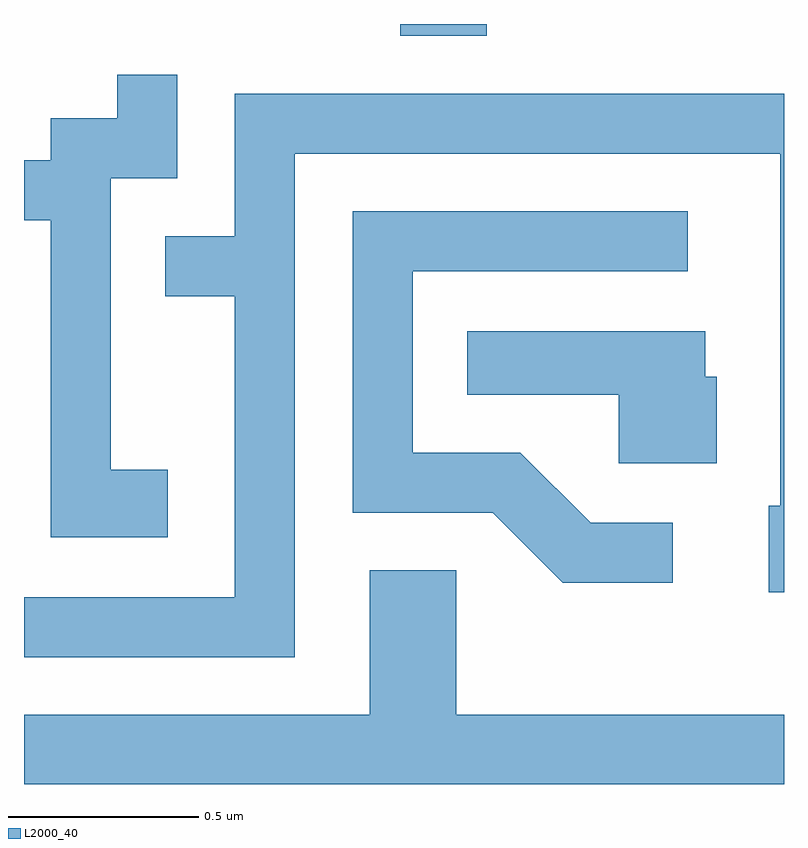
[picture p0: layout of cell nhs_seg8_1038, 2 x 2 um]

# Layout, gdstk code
import gdstk
lib = gdstk.Library(unit=1e-6, precision=1e-09)
def R(c, l, rs):  # rectangles x0, y0, x1, y1
    for r in rs: c.add(gdstk.rectangle(r[:2], r[2:], *l))
def P(c, l, *ps):  # polygons
    for p in ps: c.add(gdstk.Polygon(p, *l))
L2000_40 = (2000, 40)

nhs_seg8_1038 = lib.new_cell('nhs_seg8_1038')
R(nhs_seg8_1038, L2000_40, [(193.601,1887.311,193.829,1887.342)])
P(nhs_seg8_1038, L2000_40, [(192.989,1886.169),(192.839,1886.169),(192.839,1886.936),(193.014,1886.936),(193.014,1887.208),(192.856,1887.208),(192.856,1887.094),(192.681,1887.094),(192.681,1886.984),(192.611,1886.984),(192.611,1886.826),(192.681,1886.826),(192.681,1885.991),(192.989,1885.991)],
  [(193.324,1887.001),(194.601,1887.001),(194.601,1886.074),(194.571,1886.074),(194.571,1885.846),(194.611,1885.846),(194.611,1887.159),(193.166,1887.159),(193.166,1886.784),(192.983,1886.784),(192.983,1886.626),(193.166,1886.626),(193.166,1885.834),(192.611,1885.834),(192.611,1885.676),(193.324,1885.676)],
  [(194.318,1886.029),(194.102,1886.029),(193.917,1886.214),(193.634,1886.214),(193.634,1886.691),(194.358,1886.691),(194.358,1886.849),(193.476,1886.849),(193.476,1886.056),(193.844,1886.056),(194.029,1885.871),(194.318,1885.871)],
  [(194.434,1886.414),(194.404,1886.414),(194.404,1886.534),(193.778,1886.534),(193.778,1886.366),(194.176,1886.366),(194.176,1886.186),(194.434,1886.186)],
  [(194.611,1885.524),(193.749,1885.524),(193.749,1885.904),(193.521,1885.904),(193.521,1885.524),(192.611,1885.524),(192.611,1885.342),(194.611,1885.342)])

lib.write_gds('nhs_seg8_1038.gds')
